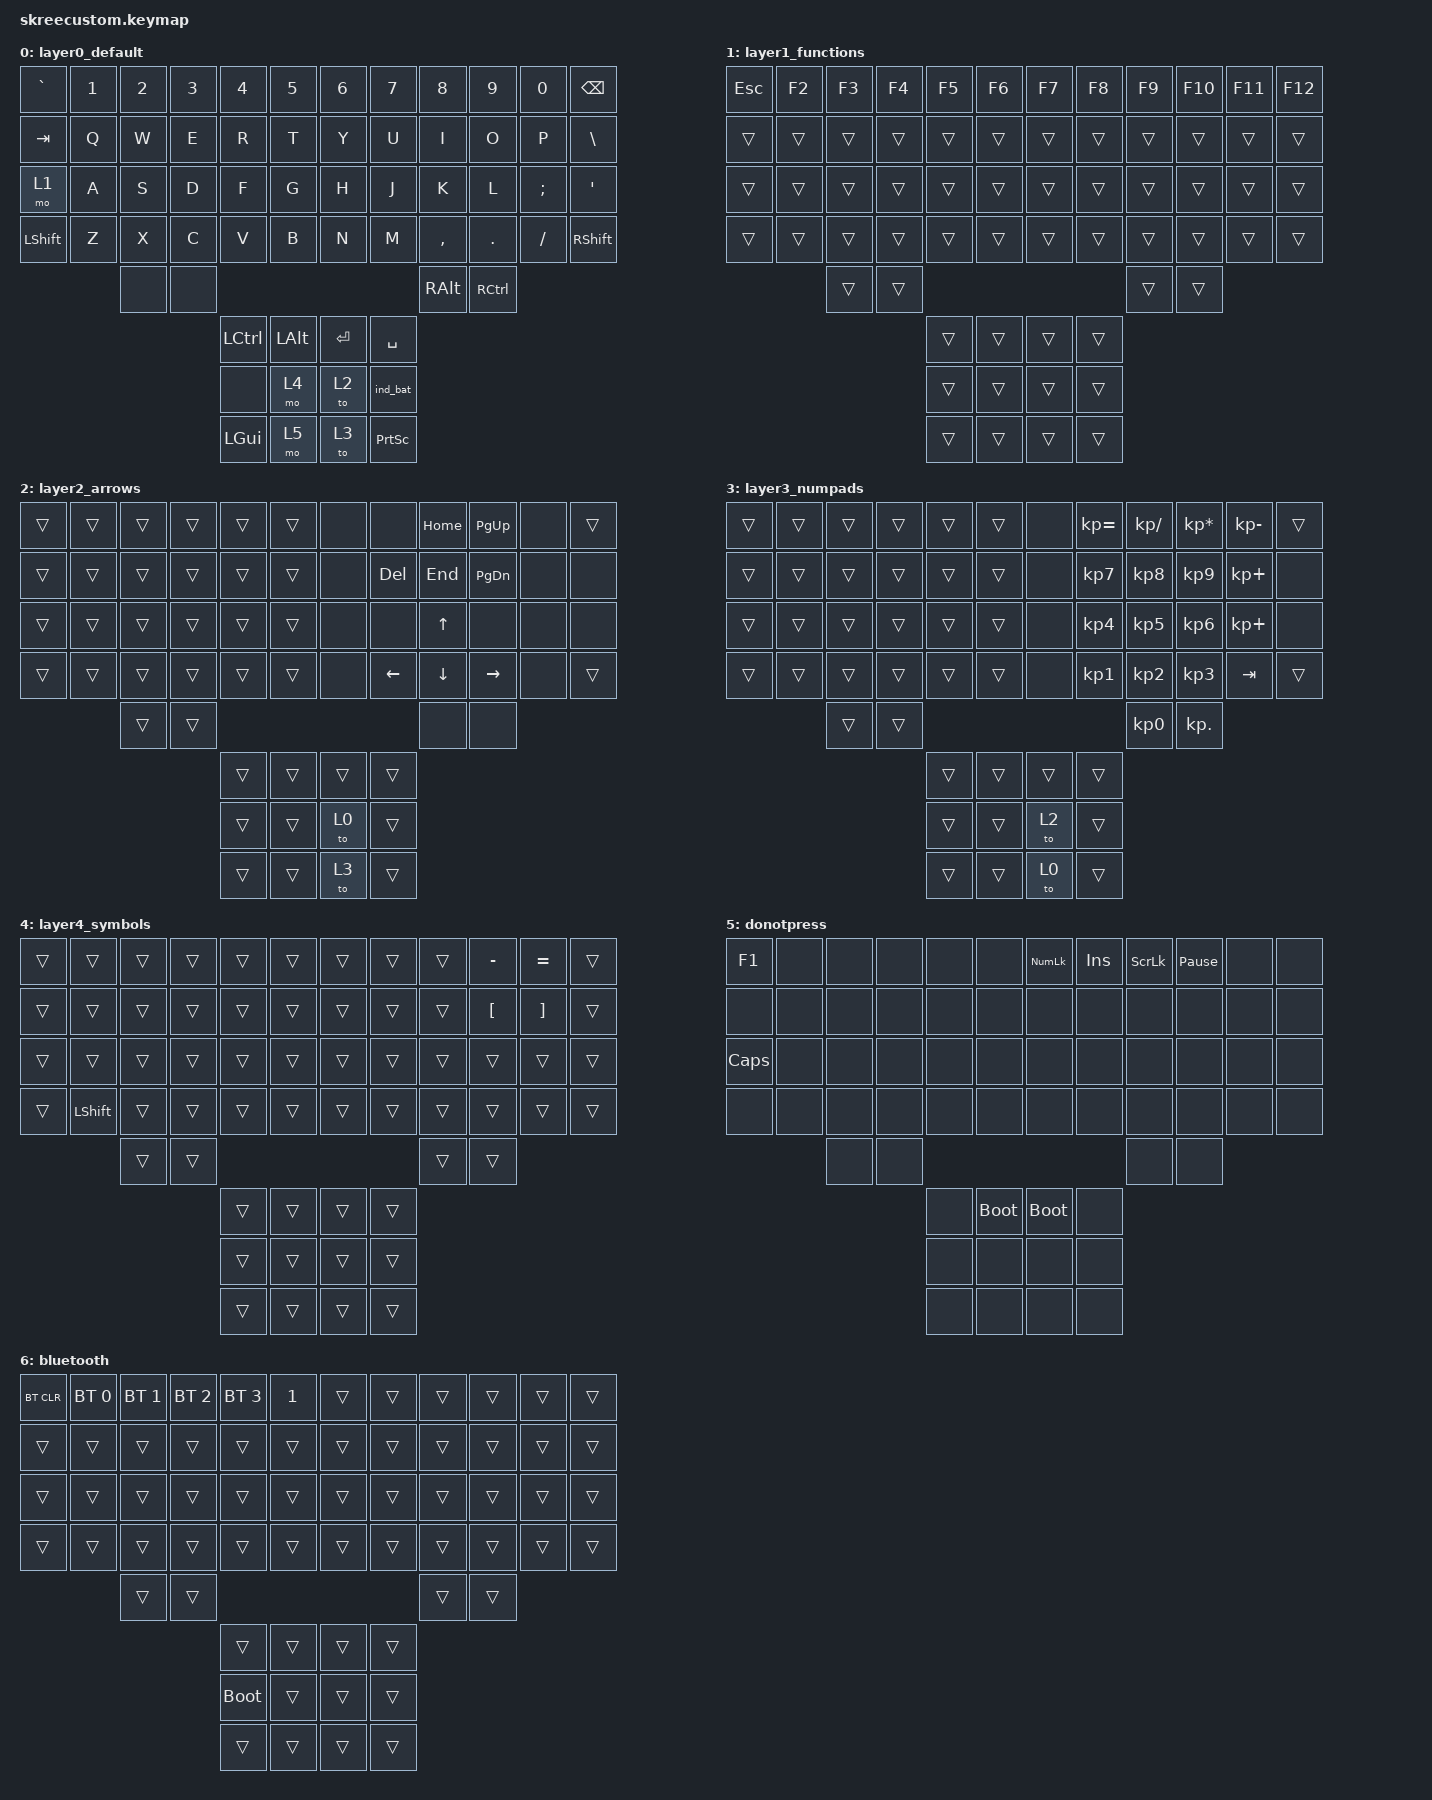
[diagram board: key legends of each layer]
/*
 * Copyright (c) 2020 The ZMK Contributors
 *
 * SPDX-License-Identifier: MIT
 */

#include <behaviors.dtsi>
#include <dt-bindings/zmk/bt.h>
#include <dt-bindings/zmk/keys.h>
#include <behaviors/rgbled_widget.dtsi>

/ {
    combos {
        compatible = "zmk,combos";

        to_layer0and3 {
            bindings = <&doubletap_to_layer0and3>;
            key-positions = <32 33 31>;
            layers = <0 1 2 3 4 5 6>;
            timeout-ms = <100>;
            require-prior-idle-ms = <150>;
        };

        to_layer2 {
            bindings = <&to 2>;
            key-positions = <43 44 45>;
            layers = <0 2 3 4>;
        };

        mo_layer4 {
            bindings = <&mo 4>;
            key-positions = <38 39 40>;
            layers = <0 2 3 4>;
        };

        f2 {
            bindings = <&kp F2>;
            key-positions = <2 14>;
            layers = <0 2 3 4>;
        };

        f4 {
            bindings = <&kp F4>;
            key-positions = <4 16>;
            layers = <0 2 3 4>;
        };

        tab {
            bindings = <&kp TAB>;
            key-positions = <26 27 28>;
            layers = <0 1 2 3 4>;
        };

        stab {
            bindings = <&kp LS(TAB)>;
            key-positions = <25 26 27 28>;
            layers = <0 1 2 3 4>;
        };

        ralt {
            bindings = <&kp RALT>;
            key-positions = <44 45>;
            layers = <0 1 2 3 4>;
        };

        to_bluetooth {
            bindings = <&doubletap_to_layer6>;
            key-positions = <48 49>;
            layers = <0>;
        };
    };

    behaviors {
        doubletap_to_layer0and3: doubletap_to_layer0and3 {
            compatible = "zmk,behavior-tap-dance";
            label = "DOUBLETAP_TO_LAYER0AND3";
            #binding-cells = <0>;
            bindings = <&to 0>, <&to 3>;
        };

        doubletap_to_layer6: doubletap_to_layer6 {
            compatible = "zmk,behavior-tap-dance";
            label = "DOUBLETAP_TO_LAYER6";
            #binding-cells = <0>;
            bindings = <&none>, <&to 6>;
        };
    };

    keymap {
        compatible = "zmk,keymap";

        layer0_default {
            bindings = <
&kp GRAVE   &kp N1  &kp N2  &kp N3  &kp N4        &kp N5      &kp N6     &kp N7           &kp N8     &kp N9     &kp N0    &kp BACKSPACE
&kp TAB     &kp Q   &kp W   &kp E   &kp R         &kp T       &kp Y      &kp U            &kp I      &kp O      &kp P     &kp BSLH
&mo 1       &kp A   &kp S   &kp D   &kp F         &kp G       &kp H      &kp J            &kp K      &kp L      &kp SEMI  &kp SQT
&kp LSHIFT  &kp Z   &kp X   &kp C   &kp V         &kp B       &kp N      &kp M            &kp COMMA  &kp DOT    &kp FSLH  &kp RSHIFT
                    &none   &none                                                         &kp RALT   &kp RCTRL
                                    &kp LCTRL     &kp LALT    &kp ENTER  &kp SPACE
                                    &none         &mo 4       &to 2      &ind_bat
                                    &kp LEFT_GUI  &mo 5       &to 3      &kp PRINTSCREEN
            >;
        };

        layer1_functions {
            bindings = <
&kp ESC  &kp F2  &kp F3  &kp F4  &kp F5  &kp F6    &kp F7  &kp F8  &kp F9  &kp F10  &kp F11  &kp F12
&trans   &trans  &trans  &trans  &trans  &trans    &trans  &trans  &trans  &trans   &trans   &trans
&trans   &trans  &trans  &trans  &trans  &trans    &trans  &trans  &trans  &trans   &trans   &trans
&trans   &trans  &trans  &trans  &trans  &trans    &trans  &trans  &trans  &trans   &trans   &trans
                 &trans  &trans                                    &trans  &trans
                                 &trans  &trans    &trans  &trans
                                 &trans  &trans    &trans  &trans
                                 &trans  &trans    &trans  &trans
            >;
        };

        layer2_arrows {
            bindings = <
&trans  &trans  &trans  &trans  &trans  &trans    &none   &none           &kp HOME        &kp PG_UP        &none  &trans
&trans  &trans  &trans  &trans  &trans  &trans    &none   &kp DEL         &kp END         &kp PG_DN        &none  &none
&trans  &trans  &trans  &trans  &trans  &trans    &none   &none           &kp UP_ARROW    &none            &none  &none
&trans  &trans  &trans  &trans  &trans  &trans    &none   &kp LEFT_ARROW  &kp DOWN_ARROW  &kp RIGHT_ARROW  &none  &trans
                &trans  &trans                                            &none           &none
                                &trans  &trans    &trans  &trans
                                &trans  &trans    &to 0   &trans
                                &trans  &trans    &to 3   &trans
            >;
        };

        layer3_numpads {
            bindings = <
&trans  &trans  &trans  &trans  &trans  &trans    &none   &kp KP_EQUAL     &kp KP_DIVIDE    &kp KP_MULTIPLY  &kp KP_MINUS  &trans
&trans  &trans  &trans  &trans  &trans  &trans    &none   &kp KP_NUMBER_7  &kp KP_N8        &kp KP_NUMBER_9  &kp KP_PLUS   &none
&trans  &trans  &trans  &trans  &trans  &trans    &none   &kp KP_NUMBER_4  &kp KP_NUMBER_5  &kp KP_NUMBER_6  &kp KP_PLUS   &none
&trans  &trans  &trans  &trans  &trans  &trans    &none   &kp KP_NUMBER_1  &kp KP_NUMBER_2  &kp KP_NUMBER_3  &kp TAB       &trans
                &trans  &trans                                             &kp KP_NUMBER_0  &kp KP_DOT
                                &trans  &trans    &trans  &trans
                                &trans  &trans    &to 2   &trans
                                &trans  &trans    &to 0   &trans
            >;
        };

        layer4_symbols {
            bindings = <
&trans  &trans     &trans  &trans  &trans  &trans    &trans  &trans  &trans  &kp MINUS  &kp EQUAL  &trans
&trans  &trans     &trans  &trans  &trans  &trans    &trans  &trans  &trans  &kp LBKT   &kp RBKT   &trans
&trans  &trans     &trans  &trans  &trans  &trans    &trans  &trans  &trans  &trans     &trans     &trans
&trans  &kp LSHFT  &trans  &trans  &trans  &trans    &trans  &trans  &trans  &trans     &trans     &trans
                   &trans  &trans                                    &trans  &trans
                                   &trans  &trans    &trans  &trans
                                   &trans  &trans    &trans  &trans
                                   &trans  &trans    &trans  &trans
            >;
        };

        donotpress {
            bindings = <
&kp F1    &none  &none  &none  &none  &none          &kp KP_NUMLOCK  &kp INSERT  &kp SCROLLLOCK  &kp PAUSE_BREAK  &none  &none
&none     &none  &none  &none  &none  &none          &none           &none       &none           &none            &none  &none
&kp CAPS  &none  &none  &none  &none  &none          &none           &none       &none           &none            &none  &none
&none     &none  &none  &none  &none  &none          &none           &none       &none           &none            &none  &none
                 &none  &none                                                    &none           &none
                               &none  &bootloader    &bootloader     &none
                               &none  &none          &none           &none
                               &none  &none          &none           &none
            >;
        };

        bluetooth {
            bindings = <
&bt BT_CLR  &bt BT_SEL 0  &bt BT_SEL 1  &bt BT_SEL 2  &bt BT_SEL 3  &kp N1    &trans  &trans  &trans  &trans  &trans  &trans
&trans      &trans        &trans        &trans        &trans        &trans    &trans  &trans  &trans  &trans  &trans  &trans
&trans      &trans        &trans        &trans        &trans        &trans    &trans  &trans  &trans  &trans  &trans  &trans
&trans      &trans        &trans        &trans        &trans        &trans    &trans  &trans  &trans  &trans  &trans  &trans
                          &trans        &trans                                                &trans  &trans
                                                      &trans        &trans    &trans  &trans
                                                      &bootloader   &trans    &trans  &trans
                                                      &trans        &trans    &trans  &trans
            >;
        };
    };
};

// //right hand trackball overrides
// &trackball_peripheral_listener {
//     input-processors =
//         <&zip_xy_transform INPUT_TRANSFORM_XY_SWAP>,//this gets it to the default installation orientation
//         <&zip_temp_layer 3 500>;//activate layer 3 within 500ms of the trackball moving
// };
// //left hand trackball overrides
// &trackball_central_listener {
//     input-processors = 
//         <&zip_xy_transform INPUT_TRANSFORM_XY_SWAP>,//this gets it to the default installation orientation
//         <&zip_xy_scaler 1 3>,//multiply sensitivity by 1, divide by 3 (make it slower for scrolling)
//         <&zip_xy_to_scroll_mapper>,//make this trackball output scrolling events by default instead of cursor movement
//         <&zip_scroll_transform INPUT_TRANSFORM_Y_INVERT>;//invert vertical scrolling so that the view moves in the same direction as the top of the trackball.
// };
